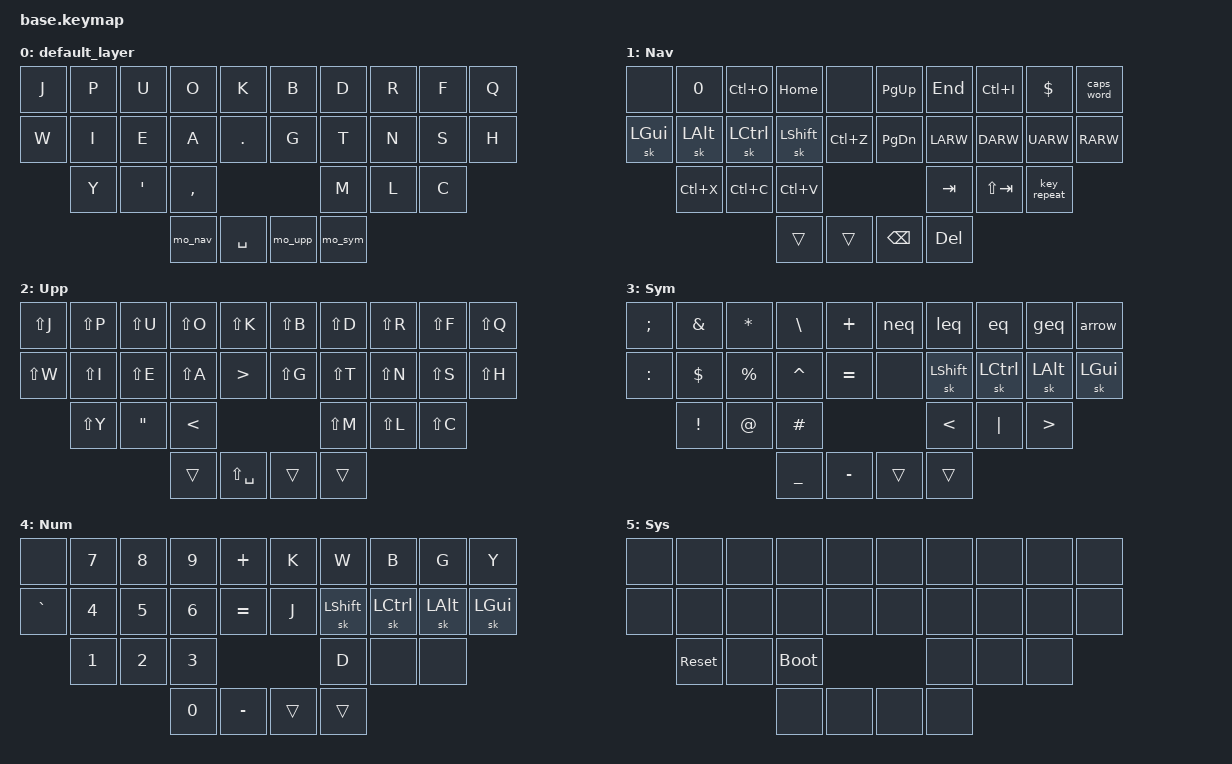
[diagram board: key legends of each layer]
/*
 * Copyright (c) 2020 The ZMK Contributors
 *
 * SPDX-License-Identifier: MIT
 */

#include <behaviors.dtsi>
#include <dt-bindings/zmk/keys.h>

/* Layers */
#define DEF_L 0
#define NAV_L 1
#define UPP_L 2
#define SYM_L 3
#define NUM_L 4
#define SYS_L 5

/* Behavior Settings */
&caps_word {
  continue-list = <UNDERSCORE MINUS BACKSPACE>;
};

&sk {
  release-after-ms = <60000>;
};

/ {
    ZMK_MACRO(mo_nav,
        wait-ms = <0>;
        tap-ms = <0>;
        bindings
        = <&macro_tap &kp K_CANCEL>
        , <&macro_press &mo NAV_L>
        , <&macro_pause_for_release>
        , <&macro_release &mo NAV_L>;)

    ZMK_MACRO(mo_upp,
        wait-ms = <0>;
        tap-ms = <0>;
        bindings
        = <&macro_tap &kp K_CANCEL>
        , <&macro_press &mo UPP_L>
        , <&macro_pause_for_release>
        , <&macro_release &mo UPP_L>;)

           ZMK_MACRO(leq,
        wait-ms = <30>;
        tap-ms = <40>;
        bindings = <&kp LT &kp EQUAL>;)

    ZMK_MACRO(eq,
        wait-ms = <30>;
        tap-ms = <40>;
        bindings = <&kp EQUAL &kp EQUAL>;)

    ZMK_MACRO(geq,
        wait-ms = <30>;
        tap-ms = <40>;
        bindings = <&kp GT &kp EQUAL>;)

    ZMK_MACRO(neq,
        wait-ms = <30>;
        tap-ms = <40>;
        bindings = <&kp EXCL &kp EQUAL>;)

    ZMK_MACRO(arrow,
        wait-ms = <30>;
        tap-ms = <40>;
        bindings = <&kp MINUS &kp GT>;)

    ZMK_MACRO(mo_sym,
        wait-ms = <0>;
        tap-ms = <0>;
        bindings
        = <&macro_tap &kp K_CANCEL>
        , <&macro_press &mo SYM_L>
        , <&macro_pause_for_release>
        , <&macro_release &mo SYM_L>;)


    ZMK_MACRO(mo_sys,
        wait-ms = <0>;
        tap-ms = <0>;
        bindings
        = <&macro_tap &kp K_CANCEL>
        , <&macro_press &mo SYS_L>
        , <&macro_pause_for_release>
        , <&macro_release &mo SYS_L>;)

    combos {
        compatible = "zmk,combos";

        #define COMBO(NAME, BINDINGS, KEYPOS, LAYERS) \
          combo_##NAME { \
            bindings = <BINDINGS>; \
            key-positions = <KEYPOS>; \
            layers = <LAYERS>; \
          };

        /*                KEY POSITIONS

          ╭────────────────────╮ ╭────────────────────╮
          │  0   1   2   3   4 │ │  5   6   7   8   9 │
          │ 10  11  12  13  14 │ │ 15  16  17  18  19 │
          │     20  21  22     │ │     23  24  25     │
          ╰───────────╮ 26  27 │ │ 28  29 ╭───────────╯
                      ╰────────╯ ╰────────╯            */

         /* Letters */
        COMBO(lower_v, &kp V, 21 22, DEF_L)
        COMBO(lower_x, &kp X, 23 24, DEF_L)
        COMBO(lower_z, &kp Z, 24 25, DEF_L)
        COMBO(forward_slash, &kp FSLH, 20 21, DEF_L)
        COMBO(upper_v, &kp LS(V), 21 22, UPP_L)
        COMBO(upper_x, &kp LS(X), 23 24, UPP_L)
        COMBO(upper_z, &kp LS(Z), 24 25, UPP_L)
        COMBO(question_mark, &kp LS(FSLH), 20 21, UPP_L)
        
        /* Brackets */
        COMBO(left_bracket, &kp LBKT, 1 11, DEF_L UPP_L SYM_L NUM_L)
        COMBO(right_bracket, &kp RBKT, 8 18, DEF_L UPP_L SYM_L NUM_L)
        COMBO(left_parenthesis, &kp LPAR, 2 12, DEF_L UPP_L SYM_L NUM_L)
        COMBO(right_parenthesis, &kp RPAR, 7 17, DEF_L UPP_L SYM_L NUM_L)
        COMBO(left_brace, &kp LBRC, 3 13, DEF_L UPP_L SYM_L NUM_L)
        COMBO(right_brace, &kp RBRC, 6 16, DEF_L UPP_L SYM_L NUM_L)

        /* Convenience */
        COMBO(esc, &kp ESC, 2 3, DEF_L)
        COMBO(ent, &kp ENTER, 17 18, DEF_L)
        COMBO(del, &kp DEL, 15 16, DEF_L)
        COMBO(tab, &kp TAB, 11 12, DEF_L)
        COMBO(select_all, &kp LC(A), 20 21, NAV_L)
        COMBO(tmux_prefix, &kp LC(B), 23 25, DEF_L)
        COMBO(caps_word, &caps_word, 18 25, DEF_L)
        COMBO(scrub_key, &kp LGUI, 0 10, DEF_L)

        COMBO(sys_l, &mo_sys, 26 27, NUM_L)

    };

    conditional_layers {
        compatible = "zmk,conditional-layers";
        tri_layer {
            if-layers = <UPP_L SYM_L>;
            then-layer = <NUM_L>;
        };
    };

    keymap {
        compatible = "zmk,keymap";

        default_layer {
            bindings = <
        // ╭─────────────┬─────────────┬─────────────┬─────────────┬─────────────╮   ╭─────────────┬─────────────┬─────────────┬─────────────┬─────────────╮
             &kp J         &kp P         &kp U         &kp O         &kp K             &kp B         &kp D         &kp R         &kp F         &kp Q
             &kp W         &kp I         &kp E         &kp A         &kp DOT           &kp G         &kp T         &kp N         &kp S         &kp H
                           &kp Y         &kp QUOT      &kp COMMA                                     &kp M         &kp L         &kp C
        // ╰─────────────┴─────────────┴─────────────╮                                                           ╭─────────────┴─────────────┴─────────────╯
                                                       &mo_nav       &kp SPACE         &mo_upp       &mo_sym
        //                                           ╰─────────────┴─────────────╯   ╰─────────────┴─────────────╯

            >;
        };

        nav_layer {
            label = "Nav";
            bindings = <
        // ╭─────────────┬─────────────┬─────────────┬─────────────┬─────────────╮   ╭─────────────┬─────────────┬─────────────┬─────────────┬─────────────╮
             &none         &kp N0        &kp LC(O)     &kp HOME      &none             &kp PG_UP     &kp END       &kp LC(I)     &kp DLLR      &caps_word
             &sk LGUI      &sk LALT      &sk LCTRL     &sk LSHFT     &kp LC(Z)         &kp PG_DN     &kp LARW      &kp DARW      &kp UARW      &kp RARW
                           &kp LC(X)     &kp LC(C)     &kp LC(V)                                     &kp TAB       &kp LS(TAB)   &key_repeat
        // ╰─────────────┴─────────────┴─────────────╮                                                           ╭─────────────┴─────────────┴─────────────╯
                                                       &trans        &trans            &kp BSPC      &kp DEL
        //                                           ╰─────────────┴─────────────╯   ╰─────────────┴─────────────╯
            >;
        };

        upper_layer {
            label = "Upp";
            bindings = <
        // ╭─────────────┬─────────────┬─────────────┬─────────────┬─────────────╮   ╭─────────────┬─────────────┬─────────────┬─────────────┬─────────────╮
             &kp LS(J)     &kp LS(P)     &kp LS(U)     &kp LS(O)     &kp LS(K)         &kp LS(B)     &kp LS(D)     &kp LS(R)     &kp LS(F)     &kp LS(Q)
             &kp LS(W)     &kp LS(I)     &kp LS(E)     &kp LS(A)     &kp GT            &kp LS(G)     &kp LS(T)     &kp LS(N)     &kp LS(S)     &kp LS(H)
                           &kp LS(Y)     &kp DQT       &kp LT                                        &kp LS(M)     &kp LS(L)     &kp LS(C)
        // ╰─────────────┴─────────────┴─────────────╮                                                           ╭─────────────┴─────────────┴─────────────╯
                                                       &trans        &kp LS(SPACE)     &trans        &trans
        //                                           ╰─────────────┴─────────────╯   ╰─────────────┴─────────────╯
            >;
        };

        sym_layer {
            label = "Sym";
            bindings = <
        // ╭─────────────┬─────────────┬─────────────┬─────────────┬─────────────╮   ╭─────────────┬─────────────┬─────────────┬─────────────┬─────────────╮
             &kp SEMI      &kp AMPS      &kp ASTRK     &kp BSLH      &kp PLUS           &neq          &leq          &eq           &geq          &arrow
             &kp COLON     &kp DLLR      &kp PRCNT     &kp CARET     &kp EQUAL          &none         &sk LSHFT     &sk LCTRL     &sk LALT      &sk LGUI
                           &kp EXCL      &kp AT        &kp POUND                                      &kp LT        &kp PIPE      &kp GT
        // ╰─────────────┴─────────────┴─────────────╮                                                           ╭─────────────┴─────────────┴─────────────╯
                                                       &kp UNDER      &kp MINUS         &trans        &trans
        //                                           ╰─────────────┴─────────────╯   ╰─────────────┴─────────────╯
            >;
        };

        num_layer {
            label = "Num";
            bindings = <
        // ╭─────────────┬─────────────┬─────────────┬─────────────┬─────────────╮   ╭─────────────┬─────────────┬─────────────┬─────────────┬─────────────╮
             &none         &kp N7        &kp N8        &kp N9        &kp PLUS          &kp K        &kp W         &kp B         &kp G         &kp Y
             &kp GRAVE     &kp N4        &kp N5        &kp N6        &kp EQUAL         &kp J        &sk LSHFT     &sk LCTRL     &sk LALT      &sk LGUI
                           &kp N1        &kp N2        &kp N3                                       &kp D         &none         &none
        // ╰─────────────┴─────────────┴─────────────╮                                                           ╭─────────────┴─────────────┴─────────────╯
                                                       &kp N0        &kp MINUS         &trans        &trans
        //                                           ╰─────────────┴─────────────╯   ╰─────────────┴─────────────╯
            >;
        };

        sys_layer {
            label = "Sys";
            bindings = <
        // ╭─────────────┬─────────────┬─────────────┬─────────────┬─────────────╮   ╭─────────────┬─────────────┬─────────────┬─────────────┬─────────────╮
             &none         &none         &none         &none         &none             &none         &none         &none         &none         &none
             &none         &none         &none         &none         &none             &none         &none         &none         &none         &none
                           &sys_reset    &none         &bootloader                                   &none         &none         &none
        // ╰─────────────┴─────────────┴─────────────╮                                                           ╭─────────────┴─────────────┴─────────────╯
                                                       &none        &none              &none        &none
        //                                           ╰─────────────┴─────────────╯   ╰─────────────┴─────────────╯
            >;
        };
    };
};
